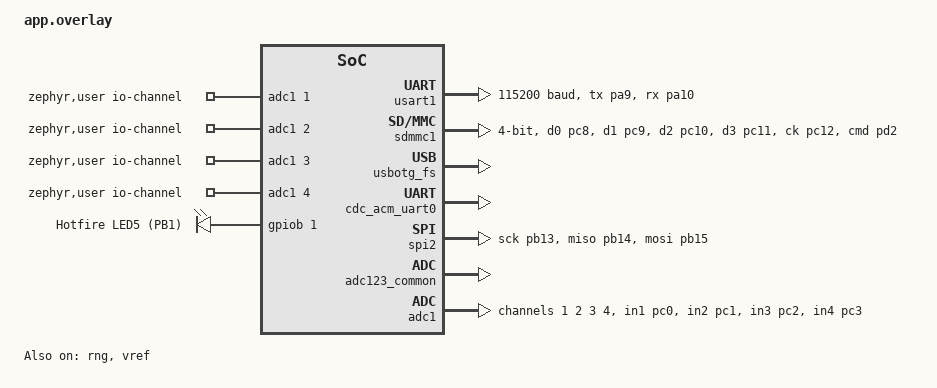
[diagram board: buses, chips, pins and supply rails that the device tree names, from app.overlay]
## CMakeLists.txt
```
cmake_minimum_required(VERSION 3.20.0)
find_package(Zephyr REQUIRED HINTS $ENV{ZEPHYR_BASE})
project(hotfire_logger)

target_sources(app PRIVATE
    src/main.cpp
    src/bsp.cpp
    src/app/fsm.cpp
    src/app/config.cpp
    # Drivers
    src/drivers/led.cpp
    src/drivers/uart.cpp
    src/drivers/sd.cpp
    src/drivers/rtc.cpp
    src/drivers/spi_decoder.cpp
    src/drivers/adxl345.cpp
    src/drivers/thermocouples.cpp
    src/drivers/pressure.cpp
    src/app/fsm.cpp
    # States
    src/app/state/init_state.cpp
    src/app/state/led_on_state.cpp
    src/app/state/led_off_state.cpp
    src/app/state/error_state.cpp
    # Tasks
    src/app/telemetry.cpp
    src/app/rtc_uart.cpp
    src/app/sensor_logging.cpp
    # Shell Commands
    src/shell/disk.cpp
    src/shell/daq.cpp
    src/shell/sys.cpp
)

target_include_directories(app PRIVATE
    include
)
```

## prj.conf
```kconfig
# GPIO
CONFIG_GPIO=y

# C++17
CONFIG_CPP=y
CONFIG_STD_CPP17=y
# config.cpp uses std::string_view.
CONFIG_REQUIRES_FULL_LIBCPP=y

# State Machine Framework
CONFIG_SMF=y

# UART Drivers
CONFIG_SERIAL=y
# USB CDC shell uses the interrupt API; USART1 exclusively uses async DMA.
CONFIG_UART_INTERRUPT_DRIVEN=y
CONFIG_UART_ASYNC_API=y
CONFIG_DMA=y
CONFIG_UART_LINE_CTRL=y

# Native USB CDC ACM
CONFIG_USB_DEVICE_STACK_NEXT=y
CONFIG_CDC_ACM_SERIAL_INITIALIZE_AT_BOOT=y
# Avoid recursive driver logging through the USB CDC shell backend.
CONFIG_USBD_CDC_ACM_LOG_LEVEL_OFF=y

# Zephyr Shell over USB CDC
CONFIG_SHELL=y
CONFIG_SHELL_BACKEND_SERIAL=y
CONFIG_SHELL_BACKEND_SERIAL_CHECK_DTR=y
CONFIG_SHELL_LOG_BACKEND=y
CONFIG_SHELL_PROMPT_UART="daq:~$ "
# Keep interactive input ahead of the SD writer (7), below acquisition (1/3/5).
CONFIG_SHELL_THREAD_PRIORITY_OVERRIDE=y
CONFIG_SHELL_THREAD_PRIORITY=6
# Avoid the default 8-byte TX fragments and tolerate bursts of terminal input.
CONFIG_SHELL_BACKEND_SERIAL_TX_RING_BUFFER_SIZE=1024
CONFIG_SHELL_BACKEND_SERIAL_RX_RING_BUFFER_SIZE=256

# Logging through the shell
CONFIG_LOG=y
CONFIG_LOG_MODE_DEFERRED=y
# Retain startup failures while USB CDC connects, without synchronous logging.
CONFIG_LOG_BUFFER_SIZE=4096
CONFIG_SHELL_BACKEND_SERIAL_LOG_MESSAGE_QUEUE_SIZE=4096
CONFIG_LOG_DEFAULT_LEVEL=3
CONFIG_LOG_PRINTK=y

# Avoid competing console backends
CONFIG_CONSOLE=n
CONFIG_UART_CONSOLE=n

# Optional diagnostics
CONFIG_KERNEL_SHELL=y
CONFIG_THREAD_MONITOR=y
CONFIG_THREAD_NAME=y
CONFIG_THREAD_STACK_INFO=y
CONFIG_INIT_STACKS=y
CONFIG_HWINFO=y
CONFIG_DEVICE_SHELL=y

# RTC calendar and shell commands (set the clock in UTC)
CONFIG_RTC=y
CONFIG_RTC_SHELL=y
CONFIG_ENTROPY_GENERATOR=y

# Kernel
# Main owns the RTC command parser; UART DMA buffers have static lifetime.
CONFIG_MAIN_STACK_SIZE=4096
# Keep UART/heartbeat/USB work preemptible by the 1 kHz pressure worker (priority 1).
CONFIG_MAIN_THREAD_PRIORITY=3
CONFIG_SYSTEM_WORKQUEUE_PRIORITY=4
# UART DMA setup/recovery now runs through the system workqueue.
CONFIG_SYSTEM_WORKQUEUE_STACK_SIZE=2048
CONFIG_SYS_CLOCK_TICKS_PER_SEC=10000
CONFIG_REBOOT=y

# Disk access and STM32 SDMMC
CONFIG_DISK_ACCESS=y
CONFIG_DISK_DRIVER_SDMMC=y
CONFIG_SDMMC_STM32=y

# File system
CONFIG_FILE_SYSTEM=y
CONFIG_FAT_FILESYSTEM_ELM=y
CONFIG_FS_FATFS_HAS_RTC=y
# Timestamped session directories exceed FAT's 8.3 filename limit.
CONFIG_FS_FATFS_LFN=y
CONFIG_FS_FATFS_LFN_MODE_STACK=y
CONFIG_FS_FATFS_MAX_LFN=64
CONFIG_FS_FATFS_REENTRANT=y

# Never automatically format the card
CONFIG_FS_FATFS_MOUNT_MKFS=n

# File system commands over Zephyr Shell
CONFIG_FILE_SYSTEM_SHELL=y

# MAX31856 thermocouple amplifiers
CONFIG_SPI=y
CONFIG_SPI_STM32_DMA=y

# Four 4-20 mA pressure inputs on ADC1, PC0..PC3.
CONFIG_ADC=y
CONFIG_ADC_STM32_VREFINT_CALIBRATE=y
```

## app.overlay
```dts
#include <zephyr/dt-bindings/gpio/gpio.h>
#include <zephyr/dt-bindings/adc/adc.h>
#include <zephyr/dt-bindings/dma/stm32_dma.h>

/ {
    zephyr,user {
        /* P0/J5, P1/J9, P2/J10, P3/J7. */
        io-channels = <&adc1 1>, <&adc1 2>, <&adc1 3>, <&adc1 4>;
    };
    /* Hotfire data logger: LED5 is PB1 -> R61 -> LED -> GND. */
    leds {
        hotfire_led: hotfire_led {
            gpios = <&gpiob 1 GPIO_ACTIVE_HIGH>;
            label = "Hotfire LED5 (PB1)";
        };
    };

    aliases {
        led0 = &hotfire_led;
        telemetry-uart = &usart1;
    };

    chosen {
        zephyr,shell-uart = &cdc_acm_uart0;
    };
};

&usart1 {
    /* USART1 request 2: keep DMA1 channels 4/5 free for SPI2. */
    dmas = <&dma2 6 2 (STM32_DMA_PERIPH_TX | STM32_DMA_PRIORITY_HIGH)>,
           <&dma2 7 2 (STM32_DMA_PERIPH_RX | STM32_DMA_PRIORITY_HIGH)>;
    dma-names = "tx", "rx";
    pinctrl-0 = <&usart1_tx_pa9 &usart1_rx_pa10>;
    pinctrl-names = "default";

    current-speed = <115200>;
    status = "okay";
};

/* Onboard microSD: D0-D3 on PC8-PC11, CLK on PC12, CMD on PD2. */
&sdmmc1 {
    pinctrl-0 = <&sdmmc1_d0_pc8 &sdmmc1_d1_pc9
                 &sdmmc1_d2_pc10 &sdmmc1_d3_pc11
                 &sdmmc1_ck_pc12 &sdmmc1_cmd_pd2>;
    pinctrl-names = "default";
    bus-width = <4>;
    disk-name = "SD";
    /* R23 pulls SD_DET high; the socket switch grounds PC7 when inserted. */
    cd-gpios = <&gpioc 7 GPIO_ACTIVE_LOW>;
    status = "okay";
};

/* The custom board uses STM32L496RE (512 KiB), not ZG (1 MiB). */
&flash0 {
    reg = <0x08000000 0x00080000>;
    ranges = <0 0x08000000 0x00080000>;
};

/* Disable Nucleo-only peripherals/pins for this initial bring-up. */
&usart2 { status = "disabled"; };
&usart3 { status = "disabled"; };
&lpuart1 { status = "disabled"; };
&spi1 { status = "disabled"; };
&i2c1 { status = "disabled"; };
&timers1 { status = "disabled"; };
&timers2 { status = "disabled"; };
&timers15 { status = "disabled"; };

&usbotg_fs {
    status = "okay";
};

/* Hardware random IDs for independent SD log sessions. */
&rng { status = "okay"; };

&zephyr_udc0 {
    cdc_acm_uart0: cdc_acm_uart0 {
        compatible = "zephyr,cdc-acm-uart";
        label = "DAQ USB";
    };
};

/* Shared SPI bus for MAX31856 U6-U9 */
&dma1 { status = "okay"; };
&dma2 { status = "okay"; };

&spi2 {
    /* SPI2 request 1, DMA1 channels 4 (RX) and 5 (TX). */
    dmas = <&dma1 4 1 (STM32_DMA_PERIPH_RX | STM32_DMA_PRIORITY_HIGH)>,
           <&dma1 5 1 (STM32_DMA_PERIPH_TX | STM32_DMA_PRIORITY_MEDIUM)>;
    dma-names = "rx", "tx";
    pinctrl-0 = <
        &spi2_sck_pb13
        &spi2_miso_pb14
        &spi2_mosi_pb15
    >;
    pinctrl-names = "default";

    status = "okay";
};

/* 80 MHz bus / 4 = 20 MHz ADC clock; VREF+ is tied to the 3V3 rail. */
&adc123_common {
    st,adc-clock-source = "SYNC";
    st,adc-prescaler = <4>;
    vref-mv = <3300>;
    status = "okay";
};

/* Enable the factory VREFINT description used for ADC rail calibration. */
&vref { status = "okay"; };

&adc1 {
    pinctrl-0 = <&adc1_in1_pc0 &adc1_in2_pc1 &adc1_in3_pc2 &adc1_in4_pc3>;
    pinctrl-names = "default";
    status = "okay";
    #address-cells = <1>;
    #size-cells = <0>;

    /* Long acquisition time for the 4.7k / 0.1uF input filters. */
    channel@1 {
        reg = <1>;
        zephyr,gain = "ADC_GAIN_1";
        zephyr,reference = "ADC_REF_INTERNAL";
        zephyr,acquisition-time = <ADC_ACQ_TIME(ADC_ACQ_TIME_TICKS, 641)>;
        zephyr,resolution = <12>;
    };
    channel@2 {
        reg = <2>;
        zephyr,gain = "ADC_GAIN_1";
        zephyr,reference = "ADC_REF_INTERNAL";
        zephyr,acquisition-time = <ADC_ACQ_TIME(ADC_ACQ_TIME_TICKS, 641)>;
        zephyr,resolution = <12>;
    };
    channel@3 {
        reg = <3>;
        zephyr,gain = "ADC_GAIN_1";
        zephyr,reference = "ADC_REF_INTERNAL";
        zephyr,acquisition-time = <ADC_ACQ_TIME(ADC_ACQ_TIME_TICKS, 641)>;
        zephyr,resolution = <12>;
    };
    channel@4 {
        reg = <4>;
        zephyr,gain = "ADC_GAIN_1";
        zephyr,reference = "ADC_REF_INTERNAL";
        zephyr,acquisition-time = <ADC_ACQ_TIME(ADC_ACQ_TIME_TICKS, 641)>;
        zephyr,resolution = <12>;
    };
};
```

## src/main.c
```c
#include <zephyr/kernel.h>
#include <zephyr/drivers/gpio.h>

#define LED_NODE DT_ALIAS(led0)

static const struct gpio_dt_spec led = GPIO_DT_SPEC_GET(LED_NODE, gpios);

int main(void) {
    if (!gpio_is_ready_dt(&led)) return -1;

    if (gpio_pin_configure_dt(&led, GPIO_OUTPUT_INACTIVE) < 0) return -1;

    while (1) {
        gpio_pin_toggle_dt(&led);
        k_msleep(500);
    }

    return 0;
}
```

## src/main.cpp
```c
#include <zephyr/kernel.h>
#include <zephyr/logging/log.h>

#include <stdio.h>
#include <errno.h>

#include "app/config.hpp"

#include "bsp.hpp"
#include "drivers/led.hpp"
#include "drivers/thermocouples.hpp"
#include "drivers/pressure.hpp"
#include "drivers/adxl345.hpp"
#include "drivers/uart.hpp"
#include "drivers/sd.hpp"
#include "shell/daq.hpp"
#include "app/fsm.hpp"
#include "app/telemetry.hpp"
#include "app/rtc_uart.hpp"
#include "app/sensor_logging.hpp"

LOG_MODULE_REGISTER(daq, LOG_LEVEL_INF);

namespace {
// UART and its DMA contexts must persist for the lifetime of the firmware.
UART uart(bsp::uart1);

void startup_message(storage::LogLevel level, const char* message)
{
    switch (level) {
    case storage::LogLevel::Info: LOG_INF("%s", message); break;
    case storage::LogLevel::Warning: LOG_WRN("%s", message); break;
    case storage::LogLevel::Error: LOG_ERR("%s", message); break;
    }
    (void)storage::SDCard::instance().log(level, message);
}

int load_tc_config(storage::SDCard& sd, ThermocoupleConfig& config)
{
    // Boot-only buffer; do not consume half of the 4 KB main stack.
    static char text[THERMOCOUPLE_CONFIG_MAX_BYTES];
    size_t length = 0;
    int ret = sd.read_file("/SD:/config.ini", text, sizeof(text), length);
    if (ret == -ENOENT) {
        startup_message(storage::LogLevel::Warning,
                        "config.ini missing; using all four channels, Type K");
        config = ThermocoupleConfig{};
        return 0;
    }
    if (ret < 0) {
        char message[128];
        snprintf(message, sizeof(message),
                 "config.ini read failed (%d); thermocouple initialization skipped", ret);
        startup_message(storage::LogLevel::Error, message);
        return ret;
    }

    ConfigError error{};
    ret = parse_thermocouple_config(text, length, config, error);
    if (ret < 0) {
        char message[160];
        snprintf(message, sizeof(message), "config.ini line %u: %s",
                 static_cast<unsigned>(error.line), error.message);
        startup_message(storage::LogLevel::Error, message);
        return ret;
    }
    startup_message(storage::LogLevel::Info, "Thermocouple configuration loaded from config.ini");
    return 0;
}
}

int main()
{
    LOG_INF("STM32L496 Data Logger Starting");

    // Initialize the SD owner / RAM queue / worker before logging any events.
    auto& sd = storage::SDCard::instance();
    const int sd_init_ret = sd.initialize();
    if (sd_init_ret < 0) {
        LOG_ERR("SD logger initialization failed: %d", sd_init_ret);
        return sd_init_ret;
    }
    (void)sd.log_startup();

    LED status_led(bsp::user_led);
    FSM fsm(status_led);
    Thermocouples thermocouples;
    PressureTransducers pressure;
    ADXL345 accelerometer;

    const int uart_ret = uart.init();
    if (uart_ret < 0) {
        LOG_ERR("USART1 initialization failed: %d", uart_ret);
        (void)sd.log(storage::LogLevel::Error,
                     "USART1 initialization failed");
        return uart_ret;
    }

    LOG_INF("USART1 initialized");
    (void)sd.log(storage::LogLevel::Info, "USART1 initialized");

    k_mutex tx_mutex;
    k_mutex_init(&tx_mutex);
    RtcUart rtc_uart(uart, tx_mutex);
    TelemetryTask telemetry(uart, tx_mutex);

    const int telemetry_ret = telemetry.start();
    if (telemetry_ret < 0) {
        LOG_ERR("Telemetry task failed: %d", telemetry_ret);
        (void)sd.log(storage::LogLevel::Error,
                     "Telemetry task initialization failed");
        return telemetry_ret;
    }

    LOG_INF("Periodic telemetry started");
    (void)sd.log(storage::LogLevel::Info, "Periodic telemetry started");

    // Load configuration before touching thermocouple hardware.
    ThermocoupleConfig tc_config{};
    int config_ret = 0;
    bool sd_ready = false;
    const int present = sd.card_present();
    if (present == 1) {
        const int mount_ret = sd.mount();
        if (mount_ret == 0) {
            sd_ready = true;
            config_ret = load_tc_config(sd, tc_config);
        } else {
            config_ret = mount_ret;
            startup_message(storage::LogLevel::Error,
                            "SD mount failed; thermocouple initialization skipped");
        }
    } else if (present == 0) {
        startup_message(storage::LogLevel::Warning,
                        "No SD card; using all four channels, Type K; automatic logging skipped");
    } else {
        config_ret = present;
        startup_message(storage::LogLevel::Error,
                        "SD card detection failed; thermocouple initialization skipped");
    }

    if (config_ret == 0) {
        for (size_t ch = 0; ch < Thermocouples::CHANNEL_COUNT; ++ch) {
            char message[96];
            snprintf(message, sizeof(message), "TC%u requested: %s, type %s",
                     static_cast<unsigned>(ch + 1),
                     tc_config.channels[ch].enabled ? "enabled" : "disabled",
                     thermocouple_type_name(tc_config.channels[ch].type));
            startup_message(storage::LogLevel::Info, message);
        }
    }
    const int thermo_ret = config_ret == 0 ? thermocouples.init(tc_config) : config_ret;
    if (thermo_ret < 0) {
        const auto& startup = thermocouples.startup_status();
        char message[160];
        snprintf(message, sizeof(message), "MAX31856 initialization failed (%d): %s",
                 thermo_ret, startup.stage);
        startup_message(storage::LogLevel::Error, message);
        if (startup.channel < Thermocouples::CHANNEL_COUNT) {
            snprintf(message, sizeof(message), "Failed TC%u / decoder Y%u",
                     static_cast<unsigned>(startup.channel + 1),
                     static_cast<unsigned>(bsp::thermocouple_decoder_addresses[startup.channel]));
            startup_message(storage::LogLevel::Error, message);
        }
        if (startup.bus_stage) {
            startup_message(storage::LogLevel::Error, startup.bus_stage);
        }
        if (startup.cr0_valid && startup.cr1_valid) {
            snprintf(message, sizeof(message),
                     "MAX31856 readback: CR0 0x%02X (expected 0x%02X), CR1 0x%02X (expected 0x%02X)",
                     startup.cr0, startup.expected_cr0, startup.cr1, startup.expected_cr1);
            startup_message(storage::LogLevel::Error, message);
        }
    } else {
        LOG_INF("Enabled MAX31856 amplifiers ready (mask 0x%02X)",
                static_cast<unsigned>(thermocouples.enabled_mask()));
        (void)sd.log(storage::LogLevel::Info,
                     "Enabled MAX31856 amplifiers initialized");
    }
    daq_shell_bind_thermocouples(thermocouples);

    const int pressure_ret = pressure.init();
    if (pressure_ret < 0) {
        LOG_ERR("Pressure ADC initialization failed: %d", pressure_ret);
        (void)sd.log(storage::LogLevel::Error,
                     "Pressure ADC initialization failed; affected channels will be blank");
    } else {
        LOG_INF("All four pressure ADC inputs initialized");
        (void)sd.log(storage::LogLevel::Info,
                     "Pressure ADC inputs initialized (PC0-PC3, 130 ohm shunts)");
    }
    daq_shell_bind_pressure(pressure);

    const int accel_ret = accelerometer.init();
    if (accel_ret < 0) {
        const auto& failure = accelerometer.startup_status();
        char message[160];
        snprintf(message, sizeof(message), "ADXL345 initialization failed (%d): %s; register 0x%02X",
                 accel_ret, failure.stage, failure.reg);
        startup_message(storage::LogLevel::Error, message);
        if (failure.readback_valid) {
            snprintf(message, sizeof(message), "ADXL345 readback: 0x%02X (expected 0x%02X)",
                     failure.actual, failure.expected);
            startup_message(storage::LogLevel::Error, message);
        }
        if (failure.bus_stage) {
            snprintf(message, sizeof(message), "ADXL345 bus operation: %s", failure.bus_stage);
            startup_message(storage::LogLevel::Error, message);
        }
    } else {
        char message[128];
        snprintf(message, sizeof(message),
                 "ADXL345 ready on CS%u/Y%u: %u Hz, full resolution, +/-16 g",
                 bsp::accelerometer_decoder_address, bsp::accelerometer_decoder_address,
                 ADXL345::RATE_HZ);
        startup_message(storage::LogLevel::Info, message);
    }

    // A failed sensor group must not prevent the other group from logging.
    const int logger_ret = sensor_logging::initialize(thermocouples, pressure, accelerometer);
    if (logger_ret < 0) {
        LOG_ERR("Sensor logger initialization failed: %d", logger_ret);
    } else {
        LOG_INF("Sensor logging task initialized");
    }

    fsm.start();
    LOG_INF("Application FSM started");
    (void)sd.log(storage::LogLevel::Info, "Application FSM started");

    // The mount was performed above; start only after both drivers and the logger.
    // TC configuration failure does not block pressure recording.
    if (sd_ready) {
        const int start_ret = sensor_logging::start();
        if (start_ret < 0) {
            LOG_ERR("Automatic sensor logging start failed: %d", start_ret);
            (void)sd.log(storage::LogLevel::Error,
                         "Automatic sensor logging start failed");
        } else {
            char message[160];
            snprintf(message, sizeof(message),
                     "Sensor logging started at boot (temperature 10 Hz, pressure 1000 Hz; ADXL345 %u Hz if available)",
                     ADXL345::RATE_HZ);
            startup_message(storage::LogLevel::Info, message);
        }
    }

    LOG_INF("DAQ application ready");
    (void)sd.log(storage::LogLevel::Info, "DAQ application ready");

    while (true) {
        fsm.step();
        rtc_uart.poll();
        k_msleep(10);
    }

    return 0;
}
```

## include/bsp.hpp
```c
#ifndef BSP_HPP
#define BSP_HPP

#include <stddef.h>
#include <stdint.h>

struct device;
struct gpio_dt_spec;
struct spi_config;
struct adc_dt_spec;

namespace bsp {

extern const gpio_dt_spec user_led;
extern const device* const uart1;
extern const device* const rtc;
extern const device* const entropy;
extern const gpio_dt_spec sd_card_detect;

extern const device* const sensor_spi;
extern const spi_config thermocouple_spi_config;
extern const spi_config accelerometer_spi_config;
extern const uint8_t thermocouple_decoder_addresses[4];
extern const uint8_t accelerometer_decoder_address;

// The decoder's low address bits share a port and must be updated together.
struct DecoderAddressPort {
    const device* port;
    uint8_t first_pin;
    uint8_t pin_count;
    uint32_t mask;
};
extern const DecoderAddressPort spi_decoder_low;
extern const gpio_dt_spec spi_decoder_a3;

inline constexpr size_t pressure_channel_count = 4;
extern const adc_dt_spec pressure_inputs[pressure_channel_count];
extern const char* const pressure_channel_labels[pressure_channel_count];

struct ExpansionGpio {
    const device* port;
    uint8_t pin;
    const char* id;
    const char* name;
    unsigned header_pin;
};
inline constexpr size_t expansion_gpio_count = 2;
extern const ExpansionGpio expansion_gpios[expansion_gpio_count];

extern const size_t ram_bytes;
extern const size_t flash_bytes;

} // namespace bsp

#endif // BSP_HPP
```

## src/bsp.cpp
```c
#include "bsp.hpp"

#include <zephyr/devicetree.h>
#include <zephyr/device.h>
#include <zephyr/drivers/adc.h>
#include <zephyr/drivers/gpio.h>
#include <zephyr/drivers/spi.h>
#include <zephyr/sys/util.h>

namespace bsp {

const gpio_dt_spec user_led = GPIO_DT_SPEC_GET(DT_ALIAS(led0), gpios);
const device* const uart1 = DEVICE_DT_GET(DT_ALIAS(telemetry_uart));
const device* const rtc = DEVICE_DT_GET(DT_NODELABEL(rtc));
const device* const entropy = DEVICE_DT_GET(DT_CHOSEN(zephyr_entropy));
const gpio_dt_spec sd_card_detect = GPIO_DT_SPEC_GET(DT_NODELABEL(sdmmc1), cd_gpios);

const device* const sensor_spi = DEVICE_DT_GET(DT_NODELABEL(spi2));
// MAX31856: 1 MHz, mode 3, 8-bit MSB first. The CD74HC154 controls CS.
// Both sensors support mode 3; keep SCK polarity consistent on the shared bus.
const spi_config thermocouple_spi_config = [] {
    spi_config config{};
    config.frequency = 1000000;
    config.operation = SPI_OP_MODE_CONTROLLER | SPI_WORD_SET(8) |
                       SPI_TRANSFER_MSB | SPI_MODE_CPOL | SPI_MODE_CPHA;
    config.peripheral = 0;
    return config;
}();

// ADXL345: same bus, 1 MHz requested, mode 3. Decoder output Y13 is board net CS13.
const spi_config accelerometer_spi_config = [] {
    spi_config config{};
    config.frequency = 1000000;
    config.operation = SPI_OP_MODE_CONTROLLER | SPI_WORD_SET(8) |
                       SPI_TRANSFER_MSB | SPI_MODE_CPOL | SPI_MODE_CPHA;
    config.peripheral = 0;
    return config;
}();
const uint8_t thermocouple_decoder_addresses[4] = {0, 1, 2, 3};
const uint8_t accelerometer_decoder_address = 13;

// A0-A2: PA5-PA7. A3: PC4. Y4-Y7 and Y15 are reserved for parking; address 15 is idle.
const DecoderAddressPort spi_decoder_low = {
    DEVICE_DT_GET(DT_NODELABEL(gpioa)), 5, 3, BIT(5) | BIT(6) | BIT(7)
};
const gpio_dt_spec spi_decoder_a3 = {
    DEVICE_DT_GET(DT_NODELABEL(gpioc)), 4, GPIO_ACTIVE_HIGH
};

constexpr adc_dt_spec pressure_inputs[pressure_channel_count] = {
    ADC_DT_SPEC_GET_BY_IDX(DT_PATH(zephyr_user), 0),
    ADC_DT_SPEC_GET_BY_IDX(DT_PATH(zephyr_user), 1),
    ADC_DT_SPEC_GET_BY_IDX(DT_PATH(zephyr_user), 2),
    ADC_DT_SPEC_GET_BY_IDX(DT_PATH(zephyr_user), 3),
};
static_assert(pressure_inputs[0].channel_id == 1 && pressure_inputs[1].channel_id == 2 &&
              pressure_inputs[2].channel_id == 3 && pressure_inputs[3].channel_id == 4,
              "Pressure scan packing assumes ADC channels 1..4 in ascending order");
const char* const pressure_channel_labels[pressure_channel_count] = {
    "J5, PC0 / ADC1 IN1", "J9, PC1 / ADC1 IN2",
    "J10, PC2 / ADC1 IN3", "J7, PC3 / ADC1 IN4"
};

const ExpansionGpio expansion_gpios[expansion_gpio_count] = {
    {DEVICE_DT_GET(DT_NODELABEL(gpiob)), 0, "0", "PB0", 6},
    {DEVICE_DT_GET(DT_NODELABEL(gpioc)), 5, "1", "PC5", 7},
};

const size_t ram_bytes = DT_REG_SIZE(DT_CHOSEN(zephyr_sram));
const size_t flash_bytes = DT_REG_SIZE(DT_CHOSEN(zephyr_flash));

} // namespace bsp
```
